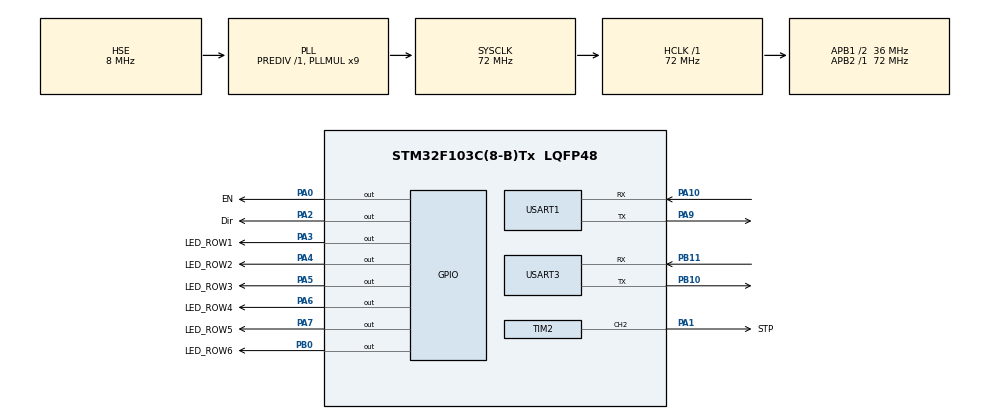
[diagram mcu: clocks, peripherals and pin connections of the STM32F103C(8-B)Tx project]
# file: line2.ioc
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Dma.Request0=USART3_RX
Dma.Request1=USART3_TX
Dma.USART3_RX.0.Direction=DMA_PERIPH_TO_MEMORY
Dma.USART3_RX.0.Instance=DMA1_Channel3
Dma.USART3_RX.0.MemDataAlignment=DMA_MDATAALIGN_BYTE
Dma.USART3_RX.0.MemInc=DMA_MINC_ENABLE
Dma.USART3_RX.0.Mode=DMA_NORMAL
Dma.USART3_RX.0.PeriphDataAlignment=DMA_PDATAALIGN_BYTE
Dma.USART3_RX.0.PeriphInc=DMA_PINC_DISABLE
Dma.USART3_RX.0.Priority=DMA_PRIORITY_LOW
Dma.USART3_TX.1.Direction=DMA_MEMORY_TO_PERIPH
Dma.USART3_TX.1.Instance=DMA1_Channel2
Dma.USART3_TX.1.MemDataAlignment=DMA_MDATAALIGN_BYTE
Dma.USART3_TX.1.MemInc=DMA_MINC_ENABLE
Dma.USART3_TX.1.Mode=DMA_NORMAL
Dma.USART3_TX.1.PeriphDataAlignment=DMA_PDATAALIGN_BYTE
Dma.USART3_TX.1.PeriphInc=DMA_PINC_DISABLE
Dma.USART3_TX.1.Priority=DMA_PRIORITY_LOW
Mcu.Family=STM32F1
Mcu.Name=STM32F103C(8-B)Tx
Mcu.Package=LQFP48
NVIC.DMA1_Channel2_IRQn=true\:0\:0\:false\:false\:true\:false\:true\:true
NVIC.DMA1_Channel3_IRQn=true\:0\:0\:false\:false\:true\:false\:true\:true
NVIC.PriorityGroup=NVIC_PRIORITYGROUP_4
NVIC.USART3_IRQn=true\:0\:0\:false\:false\:true\:true\:true\:true
PA0-WKUP.GPIO_Label=EN
PA0-WKUP.Signal=GPIO_Output
PA1.GPIO_Label=STP
PA1.Signal=S_TIM2_CH2
PA10.Mode=Asynchronous
PA10.Signal=USART1_RX
PA13.Mode=Serial_Wire
PA13.Signal=SYS_JTMS-SWDIO
PA14.Mode=Serial_Wire
PA14.Signal=SYS_JTCK-SWCLK
PA2.GPIO_Label=Dir
PA2.Signal=GPIO_Output
PA3.GPIO_Label=LED_ROW1
PA3.Signal=GPIO_Output
PA4.GPIO_Label=LED_ROW2
PA4.Signal=GPIO_Output
PA5.GPIO_Label=LED_ROW3
PA5.Signal=GPIO_Output
PA6.GPIO_Label=LED_ROW4
PA6.Signal=GPIO_Output
PA7.GPIO_Label=LED_ROW5
PA7.Signal=GPIO_Output
PA9.Mode=Asynchronous
PA9.Signal=USART1_TX
PB0.GPIO_Label=LED_ROW6
PB0.Signal=GPIO_Output
PB10.Mode=Asynchronous
PB10.Signal=USART3_TX
PB11.Mode=Asynchronous
PB11.Signal=USART3_RX
PD0-OSC_IN.Mode=HSE-External-Oscillator
PD0-OSC_IN.Signal=RCC_OSC_IN
PD1-OSC_OUT.Mode=HSE-External-Oscillator
PD1-OSC_OUT.Signal=RCC_OSC_OUT
ProjectManager.HeapSize=0x200
ProjectManager.StackSize=0x400
ProjectManager.TargetToolchain=MDK-ARM V5.32
RCC.AHBFreq_Value=72000000
RCC.APB1CLKDivider=RCC_HCLK_DIV2
RCC.APB1Freq_Value=36000000
RCC.APB1TimFreq_Value=72000000
RCC.APB2Freq_Value=72000000
RCC.APB2TimFreq_Value=72000000
RCC.HCLKFreq_Value=72000000
RCC.PLLMUL=RCC_PLL_MUL9
RCC.PLLSourceVirtual=RCC_PLLSOURCE_HSE
RCC.SYSCLKFreq_VALUE=72000000
RCC.SYSCLKSource=RCC_SYSCLKSOURCE_PLLCLK
RCC.USBFreq_Value=72000000
SH.S_TIM2_CH2.0=TIM2_CH2,PWM Generation2 CH2
TIM2.Channel-PWM\ Generation2\ CH2=TIM_CHANNEL_2
TIM2.Period=1000-1
TIM2.Prescaler=72-1
USART1.VirtualMode=VM_ASYNC
USART3.VirtualMode=VM_ASYNC
VP_TIM2_VS_ClockSourceINT.Mode=Internal
board=custom

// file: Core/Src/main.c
/* USER CODE BEGIN Header */
/**
  ******************************************************************************
  * @file           : main.c
  * @brief          : Main program body
  ******************************************************************************
  * @attention
  *
  * Copyright (c) 2023 STMicroelectronics.
  * All rights reserved.
  *
  * This software is licensed under terms that can be found in the LICENSE file
  * in the root directory of this software component.
  * If no LICENSE file comes with this software, it is provided AS-IS.
  *
  ******************************************************************************
  */
/* USER CODE END Header */
#include "main.h"
#include "dma.h"
#include "tim.h"
#include "usart.h"
#include "gpio.h"

/* USER CODE BEGIN PV */
USARTX_HANDLE usart3_handle;
HANDLE handle;
uint16_t AUTORELOAD = 1000;
/* USER CODE END PV */

void SystemClock_Config(void);

int main(void)
{

  /* MCU Configuration--------------------------------------------------------*/

  /* Reset of all peripherals, Initializes the Flash interface and the Systick. */
  HAL_Init();

  /* Configure the system clock */
  SystemClock_Config();

  /* Initialize all configured peripherals */
  MX_GPIO_Init();
  MX_DMA_Init();
  MX_TIM2_Init();
  MX_USART1_UART_Init();
  MX_USART3_UART_Init();
  /* USER CODE BEGIN 2 */
	HAL_TIM_PWM_Start(&htim2,TIM_CHANNEL_2);
	handle.flagstate=RUNL;
	handle.ledstate=0X00;
  ledshow(handle.ledstate);
	HAL_UART_Receive_DMA(&huart3,usart3_handle.rx_buf,RX_SIZE);
  __HAL_UART_ENABLE_IT(&huart3, UART_IT_IDLE);
  /* USER CODE END 2 */

  /* Infinite loop */
  while (1)
  {
			switch(handle.flagstate)
		{

			//0
			case CAIJI:
      caiji();
			break;

			//3
			case STOP:
        ledshow(handle.ledstate);
				HAL_GPIO_WritePin(EN_GPIO_Port, EN_Pin, 0);
				__HAL_TIM_SetCompare(&htim2, TIM_CHANNEL_2, 0);
			break;

			//1
			case RUNL://Dir_Pin拉高电机左转  EN_Pin拉低使能转动
				HAL_GPIO_WritePin(Dir_GPIO_Port, Dir_Pin, GPIO_PIN_SET);
				HAL_GPIO_WritePin(EN_GPIO_Port, EN_Pin, GPIO_PIN_RESET);
				__HAL_TIM_SetAutoreload(&htim2, AUTORELOAD-1);
				__HAL_TIM_SetCompare(&htim2, TIM_CHANNEL_2, __HAL_TIM_GET_AUTORELOAD(&htim2)/2);//脉冲输出72000000/（72*AUTORELOAD）=2KHZ
			break;

			//2
			case RUNR://Dir_Pin拉低电机右转  EN_Pin拉低使能转动
				HAL_GPIO_WritePin(Dir_GPIO_Port, Dir_Pin, GPIO_PIN_RESET);
				HAL_GPIO_WritePin(EN_GPIO_Port, EN_Pin, GPIO_PIN_RESET);
				__HAL_TIM_SetAutoreload(&htim2, AUTORELOAD-1);
				__HAL_TIM_SetCompare(&htim2, TIM_CHANNEL_2, __HAL_TIM_GET_AUTORELOAD(&htim2)/2);//脉冲输出72000000/（72*AUTORELOAD）=2KHZ
			break;
		}

//		/***串口测试***/
//		sprintf((char*)usart3_handle.tx_buf,"123456");
//		for(int i=0;i<strlen((char*)usart3_handle.tx_buf);i++)//循环发送数据
//		{
//			while((USART3->SR&0X40)==0){;}//循环发送,直到发送完毕
//			USART3->DR =usart3_handle.tx_buf[i];
//		}
//		/***串口测试***/

		HAL_Delay(10);
  }
}

void SystemClock_Config(void)
{
  RCC_OscInitTypeDef RCC_OscInitStruct = {0};
  RCC_ClkInitTypeDef RCC_ClkInitStruct = {0};

  /** Initializes the RCC Oscillators according to the specified parameters
  * in the RCC_OscInitTypeDef structure.
  */
  RCC_OscInitStruct.OscillatorType = RCC_OSCILLATORTYPE_HSE;
  RCC_OscInitStruct.HSEState = RCC_HSE_ON;
  RCC_OscInitStruct.HSEPredivValue = RCC_HSE_PREDIV_DIV1;
  RCC_OscInitStruct.HSIState = RCC_HSI_ON;
  RCC_OscInitStruct.PLL.PLLState = RCC_PLL_ON;
  RCC_OscInitStruct.PLL.PLLSource = RCC_PLLSOURCE_HSE;
  RCC_OscInitStruct.PLL.PLLMUL = RCC_PLL_MUL9;
  if (HAL_RCC_OscConfig(&RCC_OscInitStruct) != HAL_OK)
  {
    Error_Handler();
  }

  /** Initializes the CPU, AHB and APB buses clocks
  */
  RCC_ClkInitStruct.ClockType = RCC_CLOCKTYPE_HCLK|RCC_CLOCKTYPE_SYSCLK
                              |RCC_CLOCKTYPE_PCLK1|RCC_CLOCKTYPE_PCLK2;
  RCC_ClkInitStruct.SYSCLKSource = RCC_SYSCLKSOURCE_PLLCLK;
  RCC_ClkInitStruct.AHBCLKDivider = RCC_SYSCLK_DIV1;
  RCC_ClkInitStruct.APB1CLKDivider = RCC_HCLK_DIV2;
  RCC_ClkInitStruct.APB2CLKDivider = RCC_HCLK_DIV1;

  if (HAL_RCC_ClockConfig(&RCC_ClkInitStruct, FLASH_LATENCY_2) != HAL_OK)
  {
    Error_Handler();
  }
}

/* USER CODE BEGIN 4 */
void ledshow(uint8_t ledstate)
{
/***
		LED_ROW1_Pin 0X01
		LED_ROW2_Pin 0X02
		LED_ROW3_Pin 0X04
		LED_ROW4_Pin 0X08
		LED_ROW5_Pin 0X10
		LED_ROW6_Pin 0X20
		GPIO_PIN_RESET低电平关 GPIO_PIN_SET高电平开
***/
		HAL_GPIO_WritePin(LED_ROW1_GPIO_Port, LED_ROW1_Pin, 0X01&ledstate);
		HAL_GPIO_WritePin(LED_ROW2_GPIO_Port, LED_ROW2_Pin, 0X02&ledstate);
		HAL_GPIO_WritePin(LED_ROW3_GPIO_Port, LED_ROW3_Pin, 0X04&ledstate);
		HAL_GPIO_WritePin(LED_ROW4_GPIO_Port, LED_ROW4_Pin, 0X08&ledstate);
		HAL_GPIO_WritePin(LED_ROW5_GPIO_Port, LED_ROW5_Pin, 0X10&ledstate);
		HAL_GPIO_WritePin(LED_ROW6_GPIO_Port, LED_ROW6_Pin, 0X20&ledstate);
}
void sendString(const char* str, size_t length)
{

  HAL_UART_Transmit_DMA(&huart3, (uint8_t*)str, length);

}

void caiji(void)
{
	char* state ="$1";
	size_t Lengthmian = strlen(state) + 1;

	char* mian ="660";
	size_t Lengthled = strlen(mian) + 1;

	//暂停电机
	HAL_GPIO_WritePin(EN_GPIO_Port, EN_Pin, 0);
	__HAL_TIM_SetCompare(&htim2, TIM_CHANNEL_2, 0);

	//当前采集面1
  sendString("$1", Lengthmian);
	HAL_Delay(50);
  line_snap(Lengthled);

	//当前采集面2
  sendString("$2", Lengthmian);
	HAL_Delay(50);
  line_snap(Lengthled);

	//当前采集面3
  sendString("$3", Lengthmian);
	HAL_Delay(50);
  line_snap(Lengthled);

	handle.ledstate=0X00;

	handle.flagstate = STOP;
}

void line_snap(size_t bochang_msg)
{
  ledshow(0x01);
	HAL_Delay(ledopendelay);
  sendString("660", bochang_msg);
	HAL_Delay(handdelay);

  ledshow(0x02);
	HAL_Delay(ledopendelay);
  sendString("730", bochang_msg);
	HAL_Delay(handdelay);

  ledshow(0x04);
	HAL_Delay(ledopendelay);
  sendString("800", bochang_msg);
	HAL_Delay(handdelay);

  ledshow(0x08);
	HAL_Delay(ledopendelay);
  sendString("850", bochang_msg);
	HAL_Delay(handdelay);

  ledshow(0x10);
	HAL_Delay(ledopendelay);
  sendString("940", bochang_msg);
	HAL_Delay(handdelay);

  ledshow(0x20);
	HAL_Delay(ledopendelay);
  sendString("100", bochang_msg);
	HAL_Delay(handdelay);

	//关闭灯光旋转1/3
	ledshow(0);
	HAL_GPIO_WritePin(Dir_GPIO_Port, Dir_Pin, GPIO_PIN_SET);
	HAL_GPIO_WritePin(EN_GPIO_Port, EN_Pin, GPIO_PIN_RESET);
	__HAL_TIM_SetAutoreload(&htim2, AUTORELOAD-1);
	__HAL_TIM_SetCompare(&htim2, TIM_CHANNEL_2, __HAL_TIM_GET_AUTORELOAD(&htim2)/2);//脉冲输出72000000/（72*AUTORELOAD）=2KHZ
	HAL_Delay(4000);
	//旋转1/3后暂停，等待下一轮操作
	HAL_GPIO_WritePin(EN_GPIO_Port, EN_Pin, 0);
	__HAL_TIM_SetCompare(&htim2, TIM_CHANNEL_2, 0);
}

/* USER CODE END 4 */

void Error_Handler(void)
{
  __disable_irq();
  while (1)
  {
  }
}
